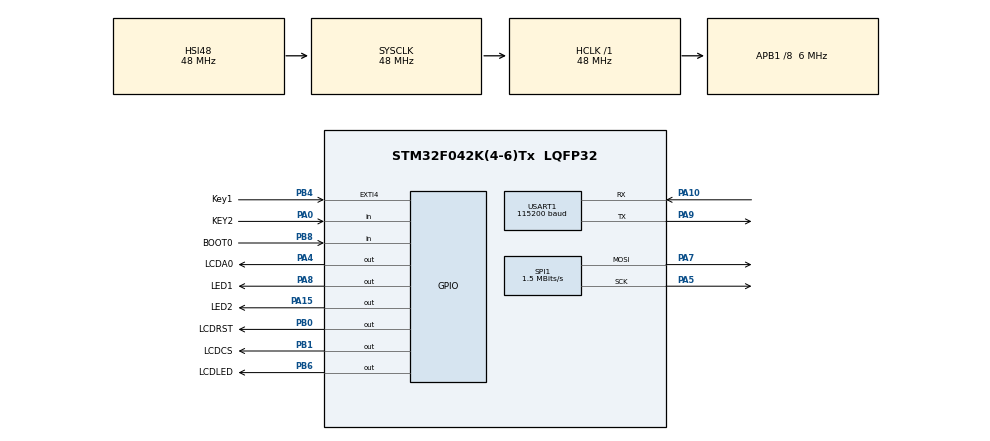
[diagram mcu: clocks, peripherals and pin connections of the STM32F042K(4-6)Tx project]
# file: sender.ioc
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ADC.ClockPrescaler=ADC_CLOCK_ASYNC_DIV1
ADC.ContinuousConvMode=ENABLE
ADC.DMAContinuousRequests=ENABLE
ADC.DataAlign=ADC_DATAALIGN_LEFT
ADC.DiscontinuousConvMode=DISABLE
ADC.EOCSelection=ADC_EOC_SEQ_CONV
ADC.EnableAnalogWatchDog=false
ADC.ExternalTrigConv=ADC_SOFTWARE_START
ADC.ExternalTrigConvEdge=ADC_EXTERNALTRIGCONVEDGE_NONE
ADC.LowPowerAutoPowerOff=DISABLE
ADC.LowPowerAutoWait=DISABLE
ADC.Overrun=ADC_OVR_DATA_OVERWRITTEN
ADC.Resolution=ADC_RESOLUTION_12B
ADC.SamplingTime=ADC_SAMPLETIME_71CYCLES_5
ADC.ScanConvMode=ADC_SCAN_DIRECTION_FORWARD
Dma.ADC.0.Direction=DMA_PERIPH_TO_MEMORY
Dma.ADC.0.Instance=DMA1_Channel1
Dma.ADC.0.MemDataAlignment=DMA_MDATAALIGN_HALFWORD
Dma.ADC.0.MemInc=DMA_MINC_ENABLE
Dma.ADC.0.Mode=DMA_CIRCULAR
Dma.ADC.0.PeriphDataAlignment=DMA_PDATAALIGN_HALFWORD
Dma.ADC.0.PeriphInc=DMA_PINC_DISABLE
Dma.ADC.0.Priority=DMA_PRIORITY_LOW
Dma.Request0=ADC
Dma.Request1=SPI1_TX
Dma.SPI1_TX.1.Direction=DMA_MEMORY_TO_PERIPH
Dma.SPI1_TX.1.Instance=DMA1_Channel3
Dma.SPI1_TX.1.MemDataAlignment=DMA_MDATAALIGN_BYTE
Dma.SPI1_TX.1.MemInc=DMA_MINC_ENABLE
Dma.SPI1_TX.1.Mode=DMA_NORMAL
Dma.SPI1_TX.1.PeriphDataAlignment=DMA_PDATAALIGN_BYTE
Dma.SPI1_TX.1.PeriphInc=DMA_PINC_DISABLE
Dma.SPI1_TX.1.Priority=DMA_PRIORITY_LOW
Mcu.Family=STM32F0
Mcu.Name=STM32F042K(4-6)Tx
Mcu.Package=LQFP32
Mcu.UserConstants=MaxSampingTime_us,4
NVIC.DMA1_Channel1_IRQn=true\:0\:0\:false\:false\:true\:false\:true
NVIC.DMA1_Channel2_3_IRQn=true\:0\:0\:false\:false\:true\:false\:true
NVIC.EXTI4_15_IRQn=true\:0\:0\:false\:false\:true\:true\:true
NVIC.TIM14_IRQn=true\:0\:0\:false\:false\:true\:true\:true
NVIC.USART1_IRQn=true\:0\:0\:false\:false\:true\:true\:true
PA0.GPIO_Label=KEY2
PA0.GPIO_PuPd=GPIO_PULLUP
PA0.Signal=GPIO_Input
PA10.GPIO_FMA10=__NULL
PA10.GPIO_ModeDefaultPP=GPIO_MODE_AF_OD
PA10.GPIO_PuPd=GPIO_PULLUP
PA10.GPIO_Speed=GPIO_SPEED_FREQ_HIGH
PA10.Mode=Asynchronous
PA10.Signal=USART1_RX
PA13.Mode=Serial_Wire
PA13.Signal=SYS_SWDIO
PA14.Mode=Serial_Wire
PA14.Signal=SYS_SWCLK
PA15.GPIO_Label=LED2
PA15.GPIO_ModeDefaultOutputPP=GPIO_MODE_OUTPUT_PP
PA15.GPIO_PuPd=GPIO_NOPULL
PA15.GPIO_Speed=GPIO_SPEED_FREQ_LOW
PA15.PinState=GPIO_PIN_RESET
PA15.Signal=GPIO_Output
PA4.GPIO_Label=LCDA0
PA4.GPIO_ModeDefaultOutputPP=GPIO_MODE_OUTPUT_PP
PA4.GPIO_PuPd=GPIO_NOPULL
PA4.GPIO_Speed=GPIO_SPEED_FREQ_LOW
PA4.PinState=GPIO_PIN_RESET
PA4.Signal=GPIO_Output
PA5.GPIO_Mode=GPIO_MODE_AF_PP
PA5.GPIO_PuPd=GPIO_NOPULL
PA5.GPIO_Speed=GPIO_SPEED_FREQ_HIGH
PA5.Mode=TX_Only_Simplex_Unidirect_Master
PA5.Signal=SPI1_SCK
PA7.GPIO_Mode=GPIO_MODE_AF_PP
PA7.GPIO_PuPd=GPIO_NOPULL
PA7.GPIO_Speed=GPIO_SPEED_FREQ_HIGH
PA7.Mode=TX_Only_Simplex_Unidirect_Master
PA7.Signal=SPI1_MOSI
PA8.GPIO_Label=LED1
PA8.Signal=GPIO_Output
PA9.GPIO_FMA9=__NULL
PA9.GPIO_ModeDefaultPP=GPIO_MODE_AF_OD
PA9.GPIO_PuPd=GPIO_PULLUP
PA9.GPIO_Speed=GPIO_SPEED_FREQ_HIGH
PA9.Mode=Asynchronous
PA9.Signal=USART1_TX
PB0.GPIO_Label=LCDRST
PB0.GPIO_ModeDefaultOutputPP=GPIO_MODE_OUTPUT_PP
PB0.GPIO_PuPd=GPIO_NOPULL
PB0.GPIO_Speed=GPIO_SPEED_FREQ_LOW
PB0.PinState=GPIO_PIN_RESET
PB0.Signal=GPIO_Output
PB1.GPIO_Label=LCDCS
PB1.GPIO_ModeDefaultOutputPP=GPIO_MODE_OUTPUT_PP
PB1.GPIO_PuPd=GPIO_NOPULL
PB1.GPIO_Speed=GPIO_SPEED_FREQ_LOW
PB1.PinState=GPIO_PIN_RESET
PB1.Signal=GPIO_Output
PB4.GPIO_Label=Key1
PB4.GPIO_ModeDefaultEXTI=GPIO_MODE_IT_FALLING
PB4.GPIO_PuPd=GPIO_PULLUP
PB4.Signal=GPXTI4
PB6.GPIO_FM6=__NULL
PB6.GPIO_Label=LCDLED
PB6.GPIO_ModeDefaultOutputPP=GPIO_MODE_OUTPUT_PP
PB6.GPIO_PuPd=GPIO_NOPULL
PB6.GPIO_Speed=GPIO_SPEED_FREQ_LOW
PB6.PinState=GPIO_PIN_RESET
PB6.Signal=GPIO_Output
PB8.GPIO_Label=BOOT0
PB8.GPIO_Mode=GPIO_MODE_INPUT
PB8.GPIO_PuPd=GPIO_NOPULL
PB8.Signal=GPIO_Input
ProjectManager.HeapSize=0x200
ProjectManager.StackSize=0x600
ProjectManager.TargetToolchain=MDK-ARM V5
RCC.AHBFreq_Value=48000000
RCC.APB1CLKDivider=RCC_HCLK_DIV8
RCC.APB1Freq_Value=6000000
RCC.APB1TimFreq_Value=12000000
RCC.HCLKFreq_Value=48000000
RCC.SYSCLKFreq_VALUE=48000000
RCC.SYSCLKSource=RCC_SYSCLKSOURCE_HSI48
RCC.Usart1ClockSelection=RCC_USART1CLKSOURCE_HSI
RTC.Alarm=RTC_ALARM_A
RTC.AsynchPrediv=79
RTC.SynchPrediv=499
SPI1.BaudRatePrescaler=SPI_BAUDRATEPRESCALER_4
SPI1.CLKPhase=SPI_PHASE_2EDGE
SPI1.CLKPolarity=SPI_POLARITY_HIGH
SPI1.CalculateBaudRate=1.5 MBits/s
SPI1.DataSize=SPI_DATASIZE_8BIT
SPI1.Direction=SPI_DIRECTION_2LINES
SPI1.Mode=SPI_MODE_MASTER
SPI1.VirtualType=VM_MASTER
TIM1.AutoReloadPreload=TIM_AUTORELOAD_PRELOAD_DISABLE
TIM1.Period=1999
TIM1.Prescaler=11
TIM14.AutoReloadPreload=TIM_AUTORELOAD_PRELOAD_DISABLE
TIM14.Period=392
TIM14.Prescaler=11999
USART1.BaudRate=115200
USART1.VirtualMode-Asynchronous=VM_ASYNC
VP_ADC_TempSens_Input.Mode=IN-TempSens
VP_ADC_Vref_Input.Mode=IN-Vrefint
VP_RTC_VS_RTC_Activate.Mode=RTC_Enabled
VP_RTC_VS_RTC_Alarm_A_Intern.Mode=Alarm A
VP_RTC_VS_RTC_Calendar.Mode=RTC_Calendar
VP_TIM14_VS_ClockSourceINT.Mode=Enable_Timer
VP_TIM1_VS_ClockSourceINT.Mode=Internal
board=custom

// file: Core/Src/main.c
/* USER CODE BEGIN Header */
/**
  ******************************************************************************
  * @file           : main.c
  * @brief          : Main program body
  ******************************************************************************
  * @attention
  *
  * <h2><center>&copy; Copyright (c) 2019 STMicroelectronics.
  * All rights reserved.</center></h2>
  *
  * This software component is licensed by ST under BSD 3-Clause license,
  * the "License"; You may not use this file except in compliance with the
  * License. You may obtain a copy of the License at:
  *                        opensource.org/licenses/BSD-3-Clause
  *
  ******************************************************************************
  */
/* USER CODE END Header */

#include "main.h"
#include "adc.h"
#include "dma.h"
#include "rtc.h"
#include "spi.h"
#include "tim.h"
#include "usart.h"
#include "gpio.h"

/* USER CODE BEGIN Includes */
#include "includes.h"
/* USER CODE END Includes */

/* USER CODE BEGIN PV */
const INT8U AButtonConventTab[]=
{
    VK_F1,VK_F2
};

/* USER CODE END PV */

void SystemClock_Config(void);

/* USER CODE BEGIN 0 */
void AButtonRefreshHook()
{
	AButtonRawInput[0]=(!GPIOReadPin(GPIOA,PIN0)<<1)+!GPIOReadPin(GPIOB,PIN4);
}
BL AEStartHandler(struct s_AppE *app,const Event *e);
AppE AppStart={AEStartHandler};
BL AEStartHandler(struct s_AppE *app,const Event *e)
{
	char pp[17]="2000/01/01      ";
	Time t;
	switch(e->Type)
    {
        case EVENT_CREATE:
			AppTimerStart(app,999999,0);
        break;
        case EVENT_DESTROY:
        break;
        case EVENT_POWERPOLICY:
        break;
        case EVENT_KEY:
			if(((AButton *)(e->ExternData))->Status==KeyShortRelease)
			{
				if(((AButton *)(e->ExternData))->KeyCode==VK_F2)AELauncherStart();
			}

        break;
        case EVENT_REPAINT:
        case EVENT_TIMER:
			t=RTCTimeRGet();
			pp[2]=(t.Year/10)%10+'0';pp[3]=t.Year%10+'0';
			pp[5]=t.Month/10+'0';pp[6]=t.Month%10+'0';
			pp[8]=t.Date/10+'0';pp[9]=t.Date%10+'0';
			LCDWriteStringRaw(0,0,FONT_ASCII0816,pp);
			pp[0]=t.Hour/10+'0';pp[1]=t.Hour%10+'0';
			pp[3]=t.Min/10+'0';pp[4]=t.Min%10+'0';
			pp[6]=t.Sec/10+'0';pp[7]=t.Sec%10+'0';
			pp[2]=pp[5]=':';
			pp[8]=pp[9]=pp[10]=' ';
			LCDWriteStringRaw(2,0,FONT_ASCII0816,pp);

        break;
        default:
        return 0;
    }
    return 1;
}
BL AESuspendHandler(struct s_AppE *app,const Event *e);
AppE AppSuspend={AESuspendHandler};
BL AESuspendHandler(struct s_AppE *app,const Event *e)
{
	AdapterDeInit();
	//HAL_ADC_Stop_DMA(&hadc);
	HAL_SuspendTick();
	HAL_PWR_EnterSTOPMode(PWR_LOWPOWERREGULATOR_ON,PWR_STOPENTRY_WFI);
	NVIC_SystemReset();
	return 1;
}
BL AEResetHandler(struct s_AppE *app,const Event *e);
AppE AppReset={AEResetHandler};
BL AEResetHandler(struct s_AppE *app,const Event *e)
{
	NVIC_SystemReset();
	return 1;
}

/* USER CODE END 0 */

int main(void)
{

  /* MCU Configuration--------------------------------------------------------*/

  /* Reset of all peripherals, Initializes the Flash interface and the Systick. */
  HAL_Init();

  /* Configure the system clock */
  SystemClock_Config();

  /* Initialize all configured peripherals */
  MX_GPIO_Init();
  MX_DMA_Init();
  MX_ADC_Init();
  MX_RTC_Init();
  MX_SPI1_Init();
  MX_USART1_UART_Init();
  MX_TIM14_Init();
  MX_TIM1_Init();
  /* USER CODE BEGIN 2 */
	AdapterInit();
	AppEAdd(&AppStart,0);
	BasicTimerAdd(3000000,1,LCDHotInit);
  /* USER CODE END 2 */

  /* Infinite loop */
  while (1)
  {

    /* USER CODE BEGIN 3 */
	  IdleProcess();
  }
  /* USER CODE END 3 */
}

void SystemClock_Config(void)
{
  RCC_OscInitTypeDef RCC_OscInitStruct = {0};
  RCC_ClkInitTypeDef RCC_ClkInitStruct = {0};
  RCC_PeriphCLKInitTypeDef PeriphClkInit = {0};

  /** Initializes the CPU, AHB and APB busses clocks
  */
  RCC_OscInitStruct.OscillatorType = RCC_OSCILLATORTYPE_HSI|RCC_OSCILLATORTYPE_HSI14
                              |RCC_OSCILLATORTYPE_HSI48|RCC_OSCILLATORTYPE_LSI;
  RCC_OscInitStruct.HSIState = RCC_HSI_ON;
  RCC_OscInitStruct.HSI48State = RCC_HSI48_ON;
  RCC_OscInitStruct.HSI14State = RCC_HSI14_ON;
  RCC_OscInitStruct.HSICalibrationValue = RCC_HSICALIBRATION_DEFAULT;
  RCC_OscInitStruct.HSI14CalibrationValue = 16;
  RCC_OscInitStruct.LSIState = RCC_LSI_ON;
  RCC_OscInitStruct.PLL.PLLState = RCC_PLL_NONE;
  if (HAL_RCC_OscConfig(&RCC_OscInitStruct) != HAL_OK)
  {
    Error_Handler();
  }
  /** Initializes the CPU, AHB and APB busses clocks
  */
  RCC_ClkInitStruct.ClockType = RCC_CLOCKTYPE_HCLK|RCC_CLOCKTYPE_SYSCLK
                              |RCC_CLOCKTYPE_PCLK1;
  RCC_ClkInitStruct.SYSCLKSource = RCC_SYSCLKSOURCE_HSI48;
  RCC_ClkInitStruct.AHBCLKDivider = RCC_SYSCLK_DIV1;
  RCC_ClkInitStruct.APB1CLKDivider = RCC_HCLK_DIV8;

  if (HAL_RCC_ClockConfig(&RCC_ClkInitStruct, FLASH_LATENCY_1) != HAL_OK)
  {
    Error_Handler();
  }
  PeriphClkInit.PeriphClockSelection = RCC_PERIPHCLK_USART1|RCC_PERIPHCLK_RTC;
  PeriphClkInit.Usart1ClockSelection = RCC_USART1CLKSOURCE_HSI;
  PeriphClkInit.RTCClockSelection = RCC_RTCCLKSOURCE_LSI;
  if (HAL_RCCEx_PeriphCLKConfig(&PeriphClkInit) != HAL_OK)
  {
    Error_Handler();
  }
}

void Error_Handler(void)
{
}

/************************ (C) COPYRIGHT STMicroelectronics *****END OF FILE****/
